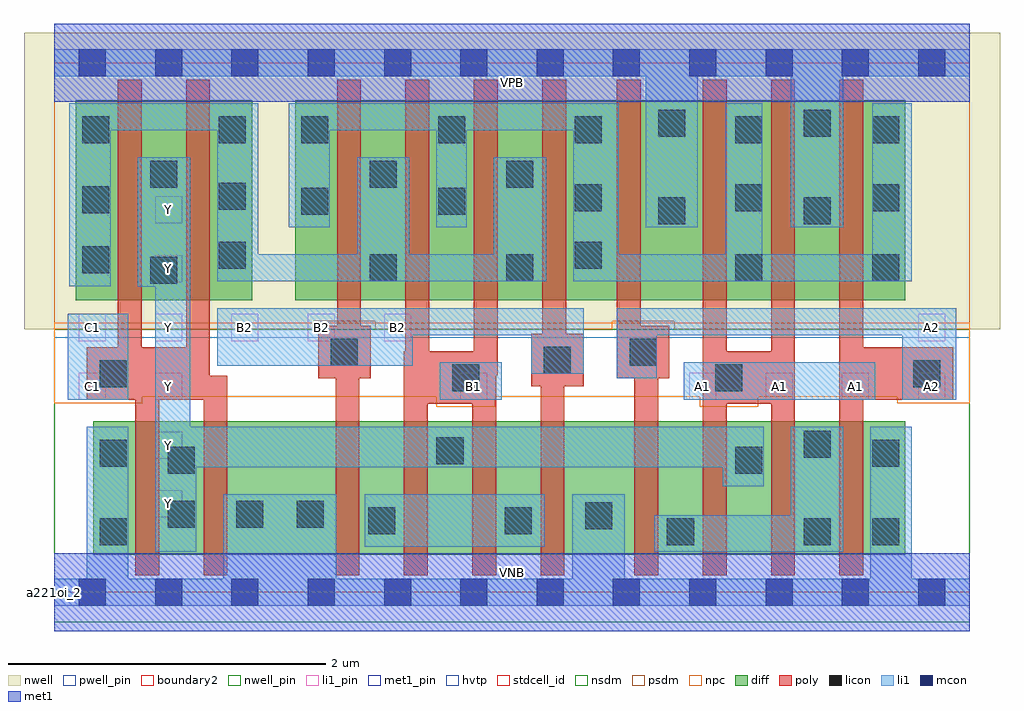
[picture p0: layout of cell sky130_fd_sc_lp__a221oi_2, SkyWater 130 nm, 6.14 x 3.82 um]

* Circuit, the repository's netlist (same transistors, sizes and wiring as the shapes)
* Copyright 2020 The SkyWater PDK Authors
*
* Licensed under the Apache License, Version 2.0 (the "License");
* you may not use this file except in compliance with the License.
* You may obtain a copy of the License at
*
*     https://www.apache.org/licenses/LICENSE-2.0
*
* Unless required by applicable law or agreed to in writing, software
* distributed under the License is distributed on an "AS IS" BASIS,
* WITHOUT WARRANTIES OR CONDITIONS OF ANY KIND, either express or implied.
* See the License for the specific language governing permissions and
* limitations under the License.
*
* SPDX-License-Identifier: Apache-2.0

.SUBCKT sky130_fd_sc_lp__a221oi_2 A1 A2 B1 B2 C1 VGND VNB VPB VPWR Y
*.PININFO A1:I A2:I B1:I B2:I C1:I VGND:I VNB:I VPB:I VPWR:I Y:O
MMPA0 pndA A1 VPWR VPB sky130_fd_pr__pfet_01v8_hvt m=2 w=1.26U l=0.15U mult=1 sa=0.265
+ sb=0.265 sd=0.28 area=0.063 perim=1.14
MMPA1 pndA A2 VPWR VPB sky130_fd_pr__pfet_01v8_hvt m=2 w=1.26U l=0.15U mult=1 sa=0.265
+ sb=0.265 sd=0.28 area=0.063 perim=1.14
MMPB0 pndB B1 pndA VPB sky130_fd_pr__pfet_01v8_hvt m=2 w=1.26U l=0.15U mult=1 sa=0.265
+ sb=0.265 sd=0.28 area=0.063 perim=1.14
MMPB1 pndB B2 pndA VPB sky130_fd_pr__pfet_01v8_hvt m=2 w=1.26U l=0.15U mult=1 sa=0.265
+ sb=0.265 sd=0.28 area=0.063 perim=1.14
MMPC0 Y C1 pndB VPB sky130_fd_pr__pfet_01v8_hvt m=2 w=1.26U l=0.15U mult=1 sa=0.265
+ sb=0.265 sd=0.28 area=0.063 perim=1.14
MMNA0 Y A1 sndA1 VNB sky130_fd_pr__nfet_01v8 m=2 w=0.84U l=0.15U mult=1 sa=0.265
+ sb=0.265 sd=0.28 area=0.063 perim=1.14
MMNA1 sndA1 A2 VGND VNB sky130_fd_pr__nfet_01v8 m=2 w=0.84U l=0.15U mult=1 sa=0.265
+ sb=0.265 sd=0.28 area=0.063 perim=1.14
MMNB0 Y B1 sndB1 VNB sky130_fd_pr__nfet_01v8 m=2 w=0.84U l=0.15U mult=1 sa=0.265
+ sb=0.265 sd=0.28 area=0.063 perim=1.14
MMNB1 sndB1 B2 VGND VNB sky130_fd_pr__nfet_01v8 m=2 w=0.84U l=0.15U mult=1 sa=0.265
+ sb=0.265 sd=0.28 area=0.063 perim=1.14
MMNC0 Y C1 VGND VNB sky130_fd_pr__nfet_01v8 m=2 w=0.84U l=0.15U mult=1 sa=0.265
+ sb=0.265 sd=0.28 area=0.063 perim=1.14
.ENDS sky130_fd_sc_lp__a221oi_2

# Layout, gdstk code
import gdstk
lib = gdstk.Library(unit=1e-6, precision=1e-09)
def R(c, l, rs):  # rectangles x0, y0, x1, y1
    for r in rs: c.add(gdstk.rectangle(r[:2], r[2:], *l))
def A(c, l, x, y, w, h, nx, ny, dx, dy):  # array of equal rectangles
    R(c, l, [(x+i*dx, y+j*dy, x+i*dx+w, y+j*dy+h) for i in range(nx) for j in range(ny)])
def P(c, l, *ps):  # polygons
    for p in ps: c.add(gdstk.Polygon(p, *l))
nwell_pin = (64, 16)
nwell = (64, 20)
diff = (65, 20)
poly = (66, 20)
licon = (66, 44)
li1_pin = (67, 16)
li1 = (67, 20)
mcon = (67, 44)
met1_pin = (68, 16)
met1 = (68, 20)
hvtp = (78, 44)
stdcell_id = (81, 4)
nsdm = (93, 44)
psdm = (94, 20)
npc = (95, 20)
pwell_pin = (122, 16)
boundary2 = (236, 0)

sky130_fd_sc_lp__a221oi_ = lib.new_cell('sky130_fd_sc_lp__a221oi_2')
R(sky130_fd_sc_lp__a221oi_, nwell_pin, [(0,3.085,5.76,3.33)])
R(sky130_fd_sc_lp__a221oi_, nwell, [(-0.19,1.655,5.95,3.52)])
R(sky130_fd_sc_lp__a221oi_, diff, [(0.245,0.235,5.355,1.075), (0.135,1.835,1.245,3.095), (1.515,1.835,5.355,3.095)])
P(sky130_fd_sc_lp__a221oi_, poly, [(1.09,1.36),(0.98,1.36),(0.98,3.225),(0.83,3.225),(0.83,1.54),(0.55,1.54),(0.55,3.225),(0.4,3.225),(0.4,1.54),(0.205,1.54),(0.205,1.21),(0.51,1.21),(0.51,0.105),(0.66,0.105),(0.66,1.21),(0.94,1.21),(0.94,0.105),(1.09,0.105)],
  [(1.99,1.675),(1.93,1.675),(1.93,3.225),(1.78,3.225),(1.78,1.675),(1.66,1.675),(1.66,1.345),(1.77,1.345),(1.77,0.105),(1.92,0.105),(1.92,1.345),(1.99,1.345)],
  [(2.79,3.225),(2.64,3.225),(2.64,1.515),(2.36,1.515),(2.36,3.225),(2.21,3.225),(2.21,1.515),(2.2,1.515),(2.2,0.105),(2.35,0.105),(2.35,1.185),(2.63,1.185),(2.63,0.105),(2.78,0.105),(2.78,1.365),(2.79,1.365)],
  [(3.33,1.625),(3.22,1.625),(3.22,3.225),(3.07,3.225),(3.07,1.625),(3,1.625),(3,1.295),(3.06,1.295),(3.06,0.105),(3.21,0.105),(3.21,1.295),(3.33,1.295)],
  [(3.87,1.675),(3.69,1.675),(3.69,3.225),(3.54,3.225),(3.54,1.345),(3.65,1.345),(3.65,0.105),(3.8,0.105),(3.8,1.345),(3.87,1.345)],
  [(4.66,3.225),(4.51,3.225),(4.51,1.515),(4.23,1.515),(4.23,3.225),(4.08,3.225),(4.08,0.105),(4.23,0.105),(4.23,1.185),(4.51,1.185),(4.51,0.105),(4.66,0.105)],
  [(5.655,1.54),(5.09,1.54),(5.09,3.225),(4.94,3.225),(4.94,0.105),(5.09,0.105),(5.09,1.21),(5.655,1.21)])
A(sky130_fd_sc_lp__a221oi_, licon, 1.555, 2.825, 0.17, 0.17, 3, 1, 0.86, 0)
R(sky130_fd_sc_lp__a221oi_, licon, [(0.285,0.295,0.455,0.465), (3.855,0.295,4.025,0.465), (4.715,0.295,4.885,0.465), (5.145,0.295,5.315,0.465), (1.975,0.365,2.145,0.535), (2.835,0.365,3.005,0.535), (3.34,0.395,3.51,0.565), (0.715,0.405,0.885,0.575), (1.145,0.405,1.315,0.575), (1.525,0.405,1.695,0.575), (0.715,0.745,0.885,0.915), (4.285,0.745,4.455,0.915), (0.285,0.79,0.455,0.96), (5.145,0.79,5.315,0.96), (2.405,0.805,2.575,0.975), (4.715,0.845,4.885,1.015), (2.505,1.265,2.675,1.435), (4.16,1.265,4.33,1.435), (0.285,1.29,0.455,1.46), (5.405,1.29,5.575,1.46), (3.08,1.375,3.25,1.545), (1.74,1.425,1.91,1.595), (3.62,1.425,3.79,1.595), (0.605,1.94,0.775,2.11), (1.985,1.955,2.155,2.125), (2.845,1.955,3.015,2.125), (4.285,1.955,4.455,2.125), (5.145,1.955,5.315,2.125), (0.175,2.005,0.345,2.175), (1.035,2.035,1.205,2.205), (3.275,2.035,3.445,2.205), (3.8,2.315,3.97,2.485), (4.715,2.315,4.885,2.485), (1.555,2.375,1.725,2.545), (2.415,2.375,2.585,2.545), (0.175,2.385,0.345,2.555), (3.275,2.395,3.445,2.565), (4.285,2.395,4.455,2.565), (5.145,2.395,5.315,2.565), (1.035,2.405,1.205,2.575), (0.605,2.545,0.775,2.715), (1.985,2.545,2.155,2.715), (2.845,2.545,3.015,2.715), (0.175,2.825,0.345,2.995), (1.035,2.825,1.205,2.995), (4.285,2.825,4.455,2.995), (5.145,2.825,5.315,2.995), (3.8,2.865,3.97,3.035), (4.715,2.865,4.885,3.035)])
A(sky130_fd_sc_lp__a221oi_, li1_pin, 0.635, 0.47, 0.17, 0.17, 1, 3, 0, 0.37)
A(sky130_fd_sc_lp__a221oi_, li1_pin, 3.995, 1.21, 0.17, 0.17, 4, 1, 0.48, 0)
A(sky130_fd_sc_lp__a221oi_, li1_pin, 0.155, 1.58, 0.17, 0.17, 5, 1, 0.48, 0)
R(sky130_fd_sc_lp__a221oi_, li1_pin, [(0.155,1.21,0.325,1.38), (2.555,1.21,2.725,1.38), (5.435,1.58,5.605,1.75), (0.635,1.95,0.805,2.12), (0.635,2.32,0.805,2.49)])
R(sky130_fd_sc_lp__a221oi_, li1, [(1.955,0.285,3.085,0.615), (0.085,1.21,0.465,1.75), (2.425,1.21,2.815,1.445), (3.96,1.21,5.165,1.445)])
P(sky130_fd_sc_lp__a221oi_, li1, [(3.72,2.295),(3.72,3.245),(0,3.245),(0,3.415),(5.76,3.415),(5.76,3.245),(4.965,3.245),(4.965,2.295),(4.635,2.295),(4.635,3.245),(4.05,3.245),(4.05,2.295)],
  [(3.26,0.085),(3.26,0.615),(3.59,0.615),(3.59,0.085),(5.135,0.085),(5.135,1.04),(5.395,1.04),(5.395,0.085),(5.76,0.085),(5.76,-0.085),(0,-0.085),(0,0.085),(0.205,0.085),(0.205,1.04),(0.465,1.04),(0.465,0.085),(1.065,0.085),(1.065,0.615),(1.775,0.615),(1.775,0.085)],
  [(0.525,1.92),(0.525,2.735),(0.855,2.735),(0.855,1.04),(4.465,1.04),(4.465,0.665),(4.205,0.665),(4.205,0.785),(0.895,0.785),(0.895,0.255),(0.635,0.255),(0.635,1.92)],
  [(1.025,1.425),(1.025,1.785),(3.33,1.785),(3.33,1.375),(3,1.375),(3,1.615),(2.255,1.615),(2.255,1.425)],
  [(4.455,2.125),(5.145,2.125),(5.145,3.075),(5.395,3.075),(5.395,1.955),(3.265,1.955),(3.265,2.905),(2.595,2.905),(2.595,2.295),(2.405,2.295),(2.405,2.905),(1.735,2.905),(1.735,2.295),(1.475,2.295),(1.475,3.075),(3.55,3.075),(3.55,2.125),(4.22,2.125),(4.22,3.075),(4.455,3.075)],
  [(2.235,2.125),(2.765,2.125),(2.765,2.735),(3.095,2.735),(3.095,1.955),(1.025,1.955),(1.025,2.905),(0.355,2.905),(0.355,1.925),(0.095,1.925),(0.095,3.075),(1.285,3.075),(1.285,2.125),(1.905,2.125),(1.905,2.735),(2.235,2.735)],
  [(3.775,0.255),(3.775,0.485),(4.635,0.485),(4.635,1.04),(4.965,1.04),(4.965,0.255)],
  [(3.54,1.345),(3.54,1.785),(5.675,1.785),(5.675,1.21),(5.335,1.21),(5.335,1.615),(3.79,1.615),(3.79,1.345)])
A(sky130_fd_sc_lp__a221oi_, mcon, 0.155, -0.085, 0.17, 0.17, 12, 2, 0.48, 3.33)
R(sky130_fd_sc_lp__a221oi_, met1_pin, [(0,0,5.76,0.245), (0,3.085,5.76,3.33)])
R(sky130_fd_sc_lp__a221oi_, met1, [(0,-0.245,5.76,0.245), (0,3.085,5.76,3.575)])
R(sky130_fd_sc_lp__a221oi_, hvtp, [(0,1.6,5.76,3.33)])
R(sky130_fd_sc_lp__a221oi_, stdcell_id, [(0,0,5.76,3.33)])
R(sky130_fd_sc_lp__a221oi_, nsdm, [(0,-0.19,5.76,1.655)])
P(sky130_fd_sc_lp__a221oi_, psdm, [(5.76,3.52),(0,3.52),(0,1.655),(1.63,1.655),(1.63,1.705),(2.02,1.705),(2.02,1.655),(3.51,1.655),(3.51,1.705),(3.9,1.705),(3.9,1.655),(5.76,1.655)])
P(sky130_fd_sc_lp__a221oi_, npc, [(5.76,1.695),(0,1.695),(0,1.19),(0.555,1.19),(0.555,1.23),(2.405,1.23),(2.405,1.165),(2.775,1.165),(2.775,1.23),(4.06,1.23),(4.06,1.165),(4.43,1.165),(4.43,1.23),(5.305,1.23),(5.305,1.19),(5.76,1.19)])
R(sky130_fd_sc_lp__a221oi_, pwell_pin, [(0,0,5.76,0.245)])
R(sky130_fd_sc_lp__a221oi_, boundary2, [(0,0,5.76,3.33)])
sky130_fd_sc_lp__a221oi_.add(gdstk.Label('VNB', (2.88,0.123), layer=64, texttype=59))
sky130_fd_sc_lp__a221oi_.add(gdstk.Label('VPB', (2.88,3.208), layer=64, texttype=5))
sky130_fd_sc_lp__a221oi_.add(gdstk.Label('a221oi_2', (0,0), layer=83, texttype=44))
sky130_fd_sc_lp__a221oi_.add(gdstk.Label('VPWR', (2.88,3.208), layer=68, texttype=5))
sky130_fd_sc_lp__a221oi_.add(gdstk.Label('VGND', (2.88,0.123), layer=68, texttype=5))
sky130_fd_sc_lp__a221oi_.add(gdstk.Label('A1', (4.08,1.295), layer=67, texttype=5))
sky130_fd_sc_lp__a221oi_.add(gdstk.Label('A1', (4.56,1.295), layer=67, texttype=5))
sky130_fd_sc_lp__a221oi_.add(gdstk.Label('A1', (5.04,1.295), layer=67, texttype=5))
sky130_fd_sc_lp__a221oi_.add(gdstk.Label('Y', (0.72,0.555), layer=67, texttype=5))
sky130_fd_sc_lp__a221oi_.add(gdstk.Label('Y', (0.72,0.925), layer=67, texttype=5))
sky130_fd_sc_lp__a221oi_.add(gdstk.Label('Y', (0.72,1.295), layer=67, texttype=5))
sky130_fd_sc_lp__a221oi_.add(gdstk.Label('Y', (0.72,1.665), layer=67, texttype=5))
sky130_fd_sc_lp__a221oi_.add(gdstk.Label('Y', (0.72,2.035), layer=67, texttype=5))
sky130_fd_sc_lp__a221oi_.add(gdstk.Label('Y', (0.72,2.405), layer=67, texttype=5))
sky130_fd_sc_lp__a221oi_.add(gdstk.Label('B1', (2.64,1.295), layer=67, texttype=5))
sky130_fd_sc_lp__a221oi_.add(gdstk.Label('C1', (0.24,1.295), layer=67, texttype=5))
sky130_fd_sc_lp__a221oi_.add(gdstk.Label('C1', (0.24,1.665), layer=67, texttype=5))
sky130_fd_sc_lp__a221oi_.add(gdstk.Label('A2', (5.52,1.295), layer=67, texttype=5))
sky130_fd_sc_lp__a221oi_.add(gdstk.Label('A2', (5.52,1.665), layer=67, texttype=5))
sky130_fd_sc_lp__a221oi_.add(gdstk.Label('B2', (1.2,1.665), layer=67, texttype=5))
sky130_fd_sc_lp__a221oi_.add(gdstk.Label('B2', (1.68,1.665), layer=67, texttype=5))
sky130_fd_sc_lp__a221oi_.add(gdstk.Label('B2', (2.16,1.665), layer=67, texttype=5))

lib.write_gds('sky130_fd_sc_lp__a221oi_2.gds')
